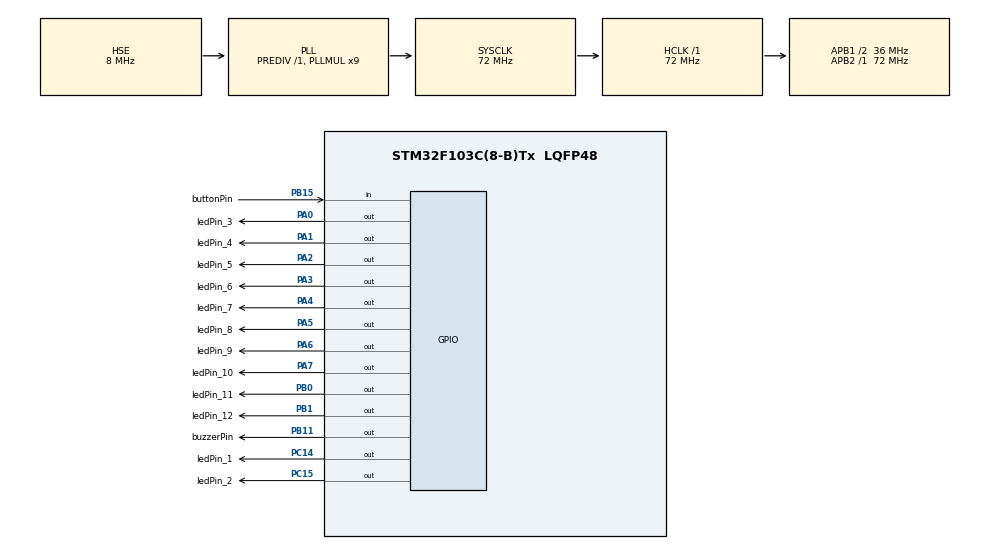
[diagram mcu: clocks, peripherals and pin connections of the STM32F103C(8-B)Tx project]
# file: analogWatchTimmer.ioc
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Mcu.Family=STM32F1
Mcu.Name=STM32F103C(8-B)Tx
Mcu.Package=LQFP48
NVIC.PriorityGroup=NVIC_PRIORITYGROUP_4
NVIC.TIM2_IRQn=true\:0\:0\:false\:false\:true\:true\:true
PA0-WKUP.GPIO_Label=ledPin_3
PA0-WKUP.Signal=GPIO_Output
PA1.GPIO_Label=ledPin_4
PA1.Signal=GPIO_Output
PA13.Mode=Serial_Wire
PA13.Signal=SYS_JTMS-SWDIO
PA14.Mode=Serial_Wire
PA14.Signal=SYS_JTCK-SWCLK
PA2.GPIO_Label=ledPin_5
PA2.Signal=GPIO_Output
PA3.GPIO_Label=ledPin_6
PA3.Signal=GPIO_Output
PA4.GPIO_Label=ledPin_7
PA4.Signal=GPIO_Output
PA5.GPIO_Label=ledPin_8
PA5.Signal=GPIO_Output
PA6.GPIO_Label=ledPin_9
PA6.Signal=GPIO_Output
PA7.GPIO_Label=ledPin_10
PA7.Signal=GPIO_Output
PB0.GPIO_Label=ledPin_11
PB0.Signal=GPIO_Output
PB1.GPIO_Label=ledPin_12
PB1.Signal=GPIO_Output
PB11.GPIO_Label=buzzerPin
PB11.Signal=GPIO_Output
PB15.GPIO_Label=buttonPin
PB15.GPIO_PuPd=GPIO_PULLUP
PB15.Signal=GPIO_Input
PC14-OSC32_IN.GPIO_Label=ledPin_1
PC14-OSC32_IN.Signal=GPIO_Output
PC15-OSC32_OUT.GPIO_Label=ledPin_2
PC15-OSC32_OUT.Signal=GPIO_Output
PD0-OSC_IN.Mode=HSE-External-Oscillator
PD0-OSC_IN.Signal=RCC_OSC_IN
PD1-OSC_OUT.Mode=HSE-External-Oscillator
PD1-OSC_OUT.Signal=RCC_OSC_OUT
ProjectManager.HeapSize=0x200
ProjectManager.StackSize=0x400
ProjectManager.TargetToolchain=STM32CubeIDE
RCC.AHBFreq_Value=72000000
RCC.APB1CLKDivider=RCC_HCLK_DIV2
RCC.APB1Freq_Value=36000000
RCC.APB1TimFreq_Value=72000000
RCC.APB2Freq_Value=72000000
RCC.APB2TimFreq_Value=72000000
RCC.HCLKFreq_Value=72000000
RCC.PLLMUL=RCC_PLL_MUL9
RCC.PLLSourceVirtual=RCC_PLLSOURCE_HSE
RCC.SYSCLKFreq_VALUE=72000000
RCC.SYSCLKSource=RCC_SYSCLKSOURCE_PLLCLK
RCC.USBFreq_Value=72000000
TIM2.AutoReloadPreload=TIM_AUTORELOAD_PRELOAD_DISABLE
TIM2.Period=1
TIM2.Prescaler=35999
VP_TIM2_VS_ClockSourceINT.Mode=Internal
board=custom

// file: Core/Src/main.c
/* USER CODE BEGIN Header */
/**
  ******************************************************************************
  * @file           : main.c
  * @brief          : Main program body
  ******************************************************************************
  * @attention
  *
  * <h2><center>&copy; Copyright (c) 2020 STMicroelectronics.
  * All rights reserved.</center></h2>
  *
  * This software component is licensed by ST under BSD 3-Clause license,
  * the "License"; You may not use this file except in compliance with the
  * License. You may obtain a copy of the License at:
  *                        opensource.org/licenses/BSD-3-Clause
  *
  ******************************************************************************
  */
/* USER CODE END Header */

#include "main.h"
#include <math.h>

/* USER CODE BEGIN PTD */
typedef struct {
	GPIO_TypeDef * ports[12];
	uint16_t pos[12];
}PORTS;
/* USER CODE END PTD */

TIM_HandleTypeDef htim2;

/* USER CODE BEGIN PV */
volatile uint16_t counter = 0;
volatile uint16_t service = 0;
volatile double globalTime = 20000;
int i,j;
/* USER CODE END PV */

void SystemClock_Config(void);
static void MX_GPIO_Init(void);
static void MX_TIM2_Init(void);
/* USER CODE BEGIN PFP */
int pulseTime();
void setLeds(PORTS *PORTS);
void timeSet(int number);
void runMode(PORTS *ports);
void setMode(PORTS *ports);
/* USER CODE END PFP */

/* USER CODE BEGIN 0 */
int pulseTime(){
	double time;
	if(!HAL_GPIO_ReadPin(buttonPin_GPIO_Port, buttonPin_Pin)){
		time=globalTime;
		while(!HAL_GPIO_ReadPin(buttonPin_GPIO_Port, buttonPin_Pin)){
			timeSet(60);
		}
		if((globalTime-time)>5){
			return 5;
		}
		else if ((globalTime-time)<=1.5) {
			return 1;
		}
		return 0;
	}
	else{
		return 0;
	}
}

void setLeds(PORTS *PORTS){
	PORTS->ports[0]=ledPin_11_GPIO_Port;
	PORTS->ports[1]=ledPin_10_GPIO_Port;
	PORTS->ports[2]=ledPin_9_GPIO_Port;
	PORTS->ports[3]=ledPin_8_GPIO_Port;
	PORTS->ports[4]=ledPin_7_GPIO_Port;
	PORTS->ports[5]=ledPin_6_GPIO_Port;
	PORTS->ports[6]=ledPin_5_GPIO_Port;
	PORTS->ports[7]=ledPin_4_GPIO_Port;
	PORTS->ports[8]=ledPin_3_GPIO_Port;
	PORTS->ports[9]=ledPin_2_GPIO_Port;
	PORTS->ports[10]=ledPin_1_GPIO_Port;
	PORTS->ports[11]=ledPin_12_GPIO_Port;
	PORTS->pos[0]=ledPin_11_Pin;
	PORTS->pos[1]=ledPin_10_Pin;
	PORTS->pos[2]=ledPin_9_Pin;
	PORTS->pos[3]=ledPin_8_Pin;
	PORTS->pos[4]=ledPin_7_Pin;
	PORTS->pos[5]=ledPin_6_Pin;
	PORTS->pos[6]=ledPin_5_Pin;
	PORTS->pos[7]=ledPin_4_Pin;
	PORTS->pos[8]=ledPin_3_Pin;
	PORTS->pos[9]=ledPin_2_Pin;
	PORTS->pos[10]=ledPin_1_Pin;
	PORTS->pos[11]=ledPin_12_Pin;
	for (int i = 0; i < 12; ++i) {
		HAL_GPIO_WritePin(PORTS->ports[i], PORTS->pos[i], GPIO_PIN_SET);
		timeSet(20);
		HAL_GPIO_WritePin(PORTS->ports[i], PORTS->pos[i], GPIO_PIN_RESET);
		timeSet(1);
	}
	for (int i = 0; i < 12; ++i) {
		HAL_GPIO_WritePin(PORTS->ports[i], PORTS->pos[i], GPIO_PIN_SET);
		timeSet(20);
		HAL_GPIO_WritePin(PORTS->ports[i], PORTS->pos[i], GPIO_PIN_RESET);
		timeSet(1);
	}
	for (int i = 11	; i >= 0; i--) {
		HAL_GPIO_WritePin(PORTS->ports[i], PORTS->pos[i], GPIO_PIN_SET);
		timeSet(20);
		HAL_GPIO_WritePin(PORTS->ports[i], PORTS->pos[i], GPIO_PIN_RESET);
		timeSet(1);
	}
}

void timeSet(int number){
	for(service=0;service<=number;){
	}
}

void runMode(PORTS *ports){
	double minutes,integer;
	minutes=modf((globalTime/3600),&integer);
	  for (j = 0; j < 5; ++j) {
		  //Se imprimen los LEDS intermitentemente 5 veces.
		  for (i = 0; i <= 11; ++i) {
			  if((globalTime/(3600*(i+1)))>(1)){
				  HAL_GPIO_WritePin(ports->ports[i], ports->pos[i], GPIO_PIN_SET);
				  //HAL_Delay(500);
			  }
			  //HAL_GPIO_WritePin(ports.ports[i], ports.pos[i], GPIO_PIN_RESET);
		  }
		  timeSet(300);
		  for (i = 0; i <= 11; ++i) {
			  HAL_GPIO_WritePin(ports->ports[i], ports->pos[i], GPIO_PIN_RESET);
		  }
		  timeSet(300);
	  }
	  //Se encienden los LEDS en tiempo de minutos.
	  for (i = 0; i <= 11; ++i) {
		  if (((minutes*60)/(5*(i+1)))>1) {
			  HAL_GPIO_WritePin(ports->ports[i], ports->pos[i], GPIO_PIN_SET);
		  }
	 }
	  timeSet(1500);
	  for (i = 0; i <= 11; ++i) {
		  HAL_GPIO_WritePin(ports->ports[i], ports->pos[i], GPIO_PIN_RESET);
	  }
}

void setMode(PORTS *ports){
	HAL_GPIO_WritePin(buzzerPin_GPIO_Port, buzzerPin_Pin, GPIO_PIN_SET);
	timeSet(300);
	HAL_GPIO_WritePin(buzzerPin_GPIO_Port, buzzerPin_Pin, GPIO_PIN_RESET);
	timeSet(300);
	HAL_GPIO_WritePin(buzzerPin_GPIO_Port, buzzerPin_Pin, GPIO_PIN_SET);
	timeSet(300);
	HAL_GPIO_WritePin(buzzerPin_GPIO_Port, buzzerPin_Pin, GPIO_PIN_RESET);
	//getOut de tipo int es la salida al modo SET.
	int menu;
	int getOut=1;
	double init=300;
	double minutes=3600;
	while(getOut){
		menu=pulseTime();
		for (i = 0; i <= 11; ++i) {
			if((minutes/(3600*(i+1)))>=(1)){
				HAL_GPIO_WritePin(ports->ports[i], ports->pos[i], GPIO_PIN_SET);
			}
		}
		if(menu==1){
			minutes+=3600;
			if(minutes>43200){
				minutes=3600;
				for (i = 0; i <= 11; ++i) {
					HAL_GPIO_WritePin(ports->ports[i], ports->pos[i], GPIO_PIN_RESET);
				}
			}
		}
		else if(menu==5) {
			globalTime=minutes;
			HAL_GPIO_WritePin(buzzerPin_GPIO_Port, buzzerPin_Pin, GPIO_PIN_SET);
			timeSet(300);
			HAL_GPIO_WritePin(buzzerPin_GPIO_Port, buzzerPin_Pin, GPIO_PIN_RESET);
			timeSet(300);
			HAL_GPIO_WritePin(buzzerPin_GPIO_Port, buzzerPin_Pin, GPIO_PIN_SET);
			timeSet(300);
			HAL_GPIO_WritePin(buzzerPin_GPIO_Port, buzzerPin_Pin, GPIO_PIN_RESET);
			timeSet(300);
			HAL_GPIO_WritePin(buzzerPin_GPIO_Port, buzzerPin_Pin, GPIO_PIN_SET);
			timeSet(300);
			HAL_GPIO_WritePin(buzzerPin_GPIO_Port, buzzerPin_Pin, GPIO_PIN_RESET);
			for (i = 0; i <= 11; ++i) {
				HAL_GPIO_WritePin(ports->ports[i], ports->pos[i], GPIO_PIN_RESET);
			}
			while(getOut){
				for (i = 0; i <= 11; ++i) {
					if (((init)/(300*(i+1)))>=1) {
						HAL_GPIO_WritePin(ports->ports[i], ports->pos[i], GPIO_PIN_SET);
					}
				}
				menu=pulseTime();
				if(menu==1){
					init+=300;
					if(init>3600){
						init=300;
						for (i = 0; i <= 11; ++i) {
							HAL_GPIO_WritePin(ports->ports[i], ports->pos[i], GPIO_PIN_RESET);
						}
					}
				}
				else if(menu==5){
					getOut=0;
					globalTime+=init;
				}
			}
		}
	}
	for (i = 0; i <= 11; ++i) {
		HAL_GPIO_WritePin(ports->ports[i], ports->pos[i], GPIO_PIN_RESET);
	}
	HAL_GPIO_WritePin(buzzerPin_GPIO_Port, buzzerPin_Pin, GPIO_PIN_SET);
	//HAL_GPIO_TogglePin(GPIOC, GPIO_PIN_13);
	timeSet(2000);
	HAL_GPIO_WritePin(buzzerPin_GPIO_Port, buzzerPin_Pin, GPIO_PIN_RESET);
}

/* USER CODE END 0 */

int main(void)
{
  /* USER CODE BEGIN 1 */
	PORTS ports;
  /* USER CODE END 1 */

  /* MCU Configuration--------------------------------------------------------*/

  /* Reset of all peripherals, Initializes the Flash interface and the Systick. */
  HAL_Init();

  /* Configure the system clock */
  SystemClock_Config();

  /* Initialize all configured peripherals */
  MX_GPIO_Init();
  MX_TIM2_Init();
  /* USER CODE BEGIN 2 */
  HAL_TIM_Base_Start_IT(&htim2);
  setLeds(&ports);
  /* USER CODE END 2 */

  /* Infinite loop */
  while (1)
  {

    /* USER CODE BEGIN 3 */
	  switch ((int)pulseTime()) {
		case 1:{
			runMode(&ports);
			break;
		}
		case 5:{
			setMode(&ports);
			break;
		}
		default:{
			break;
		}
	}
  }
  /* USER CODE END 3 */
}

void SystemClock_Config(void)
{
  RCC_OscInitTypeDef RCC_OscInitStruct = {0};
  RCC_ClkInitTypeDef RCC_ClkInitStruct = {0};

  /** Initializes the CPU, AHB and APB busses clocks
  */
  RCC_OscInitStruct.OscillatorType = RCC_OSCILLATORTYPE_HSE;
  RCC_OscInitStruct.HSEState = RCC_HSE_ON;
  RCC_OscInitStruct.HSEPredivValue = RCC_HSE_PREDIV_DIV1;
  RCC_OscInitStruct.HSIState = RCC_HSI_ON;
  RCC_OscInitStruct.PLL.PLLState = RCC_PLL_ON;
  RCC_OscInitStruct.PLL.PLLSource = RCC_PLLSOURCE_HSE;
  RCC_OscInitStruct.PLL.PLLMUL = RCC_PLL_MUL9;
  if (HAL_RCC_OscConfig(&RCC_OscInitStruct) != HAL_OK)
  {
    Error_Handler();
  }
  /** Initializes the CPU, AHB and APB busses clocks
  */
  RCC_ClkInitStruct.ClockType = RCC_CLOCKTYPE_HCLK|RCC_CLOCKTYPE_SYSCLK
                              |RCC_CLOCKTYPE_PCLK1|RCC_CLOCKTYPE_PCLK2;
  RCC_ClkInitStruct.SYSCLKSource = RCC_SYSCLKSOURCE_PLLCLK;
  RCC_ClkInitStruct.AHBCLKDivider = RCC_SYSCLK_DIV1;
  RCC_ClkInitStruct.APB1CLKDivider = RCC_HCLK_DIV2;
  RCC_ClkInitStruct.APB2CLKDivider = RCC_HCLK_DIV1;

  if (HAL_RCC_ClockConfig(&RCC_ClkInitStruct, FLASH_LATENCY_2) != HAL_OK)
  {
    Error_Handler();
  }
}

static void MX_TIM2_Init(void)
{

  TIM_ClockConfigTypeDef sClockSourceConfig = {0};
  TIM_MasterConfigTypeDef sMasterConfig = {0};

  htim2.Instance = TIM2;
  htim2.Init.Prescaler = 35999;
  htim2.Init.CounterMode = TIM_COUNTERMODE_UP;
  htim2.Init.Period = 1;
  htim2.Init.ClockDivision = TIM_CLOCKDIVISION_DIV1;
  htim2.Init.AutoReloadPreload = TIM_AUTORELOAD_PRELOAD_DISABLE;
  if (HAL_TIM_Base_Init(&htim2) != HAL_OK)
  {
    Error_Handler();
  }
  sClockSourceConfig.ClockSource = TIM_CLOCKSOURCE_INTERNAL;
  if (HAL_TIM_ConfigClockSource(&htim2, &sClockSourceConfig) != HAL_OK)
  {
    Error_Handler();
  }
  sMasterConfig.MasterOutputTrigger = TIM_TRGO_RESET;
  sMasterConfig.MasterSlaveMode = TIM_MASTERSLAVEMODE_DISABLE;
  if (HAL_TIMEx_MasterConfigSynchronization(&htim2, &sMasterConfig) != HAL_OK)
  {
    Error_Handler();
  }

}

static void MX_GPIO_Init(void)
{
  GPIO_InitTypeDef GPIO_InitStruct = {0};

  /* GPIO Ports Clock Enable */
  __HAL_RCC_GPIOC_CLK_ENABLE();
  __HAL_RCC_GPIOD_CLK_ENABLE();
  __HAL_RCC_GPIOA_CLK_ENABLE();
  __HAL_RCC_GPIOB_CLK_ENABLE();

  /*Configure GPIO pin Output Level */
  HAL_GPIO_WritePin(GPIOC, ledPin_1_Pin|ledPin_2_Pin, GPIO_PIN_RESET);

  /*Configure GPIO pin Output Level */
  HAL_GPIO_WritePin(GPIOA, ledPin_3_Pin|ledPin_4_Pin|ledPin_5_Pin|ledPin_6_Pin
                          |ledPin_7_Pin|ledPin_8_Pin|ledPin_9_Pin|ledPin_10_Pin, GPIO_PIN_RESET);

  /*Configure GPIO pin Output Level */
  HAL_GPIO_WritePin(GPIOB, ledPin_11_Pin|ledPin_12_Pin|buzzerPin_Pin, GPIO_PIN_RESET);

  /*Configure GPIO pins : ledPin_1_Pin ledPin_2_Pin */
  GPIO_InitStruct.Pin = ledPin_1_Pin|ledPin_2_Pin;
  GPIO_InitStruct.Mode = GPIO_MODE_OUTPUT_PP;
  GPIO_InitStruct.Pull = GPIO_NOPULL;
  GPIO_InitStruct.Speed = GPIO_SPEED_FREQ_LOW;
  HAL_GPIO_Init(GPIOC, &GPIO_InitStruct);

  /*Configure GPIO pins : ledPin_3_Pin ledPin_4_Pin ledPin_5_Pin ledPin_6_Pin
                           ledPin_7_Pin ledPin_8_Pin ledPin_9_Pin ledPin_10_Pin */
  GPIO_InitStruct.Pin = ledPin_3_Pin|ledPin_4_Pin|ledPin_5_Pin|ledPin_6_Pin
                          |ledPin_7_Pin|ledPin_8_Pin|ledPin_9_Pin|ledPin_10_Pin;
  GPIO_InitStruct.Mode = GPIO_MODE_OUTPUT_PP;
  GPIO_InitStruct.Pull = GPIO_NOPULL;
  GPIO_InitStruct.Speed = GPIO_SPEED_FREQ_LOW;
  HAL_GPIO_Init(GPIOA, &GPIO_InitStruct);

  /*Configure GPIO pins : ledPin_11_Pin ledPin_12_Pin buzzerPin_Pin */
  GPIO_InitStruct.Pin = ledPin_11_Pin|ledPin_12_Pin|buzzerPin_Pin;
  GPIO_InitStruct.Mode = GPIO_MODE_OUTPUT_PP;
  GPIO_InitStruct.Pull = GPIO_NOPULL;
  GPIO_InitStruct.Speed = GPIO_SPEED_FREQ_LOW;
  HAL_GPIO_Init(GPIOB, &GPIO_InitStruct);

  /*Configure GPIO pin : buttonPin_Pin */
  GPIO_InitStruct.Pin = buttonPin_Pin;
  GPIO_InitStruct.Mode = GPIO_MODE_INPUT;
  GPIO_InitStruct.Pull = GPIO_PULLUP;
  HAL_GPIO_Init(buttonPin_GPIO_Port, &GPIO_InitStruct);

}

/* USER CODE BEGIN 4 */
void HAL_TIM_PeriodElapsedCallback(TIM_HandleTypeDef *htim)
{
  /* Prevent unused argument(s) compilation warning */
  //UNUSED(htim);
  if (htim->Instance == TIM2) {
	if(service++ == 65535) service = 0;
	if(counter++ == 1000){
		counter = 0;
		if (globalTime++ == 43200) {
			globalTime = 0;
		}
	}
  }
  /* NOTE : This function should not be modified, when the callback is needed,
            the HAL_TIM_PeriodElapsedCallback could be implemented in the user file
   */
}
/* USER CODE END 4 */

void Error_Handler(void)
{
}

/************************ (C) COPYRIGHT STMicroelectronics *****END OF FILE****/
